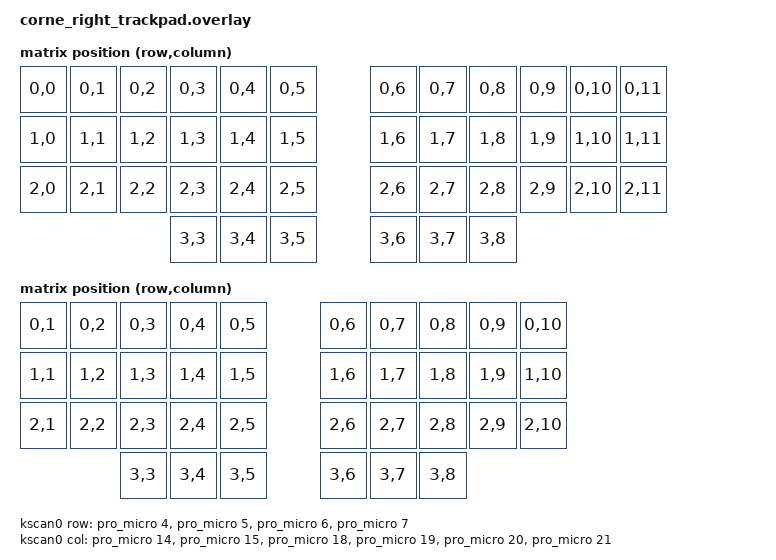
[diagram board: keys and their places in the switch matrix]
/*
 * Corne right half with an Azoteq TPS43-201A-S trackpad (IQS572) in place of
 * the OLED. I2C on the OLED header (SDA=D2/P0.17, SCL=D3/P0.20),
 * RDY=D8/P1.04, RST=D9/P1.06.
 *
 * Self-contained copy of the stock corne.dtsi + corne_right.overlay (with
 * col-offset inlined), minus the OLED node, plus the trackpad and its input
 * listener. See TRACKPAD_PLAN.md / TRACKPAD_BRINGUP.md for wiring/bring-up.
 */

#include <dt-bindings/gpio/gpio.h>
#include <dt-bindings/zmk/matrix_transform.h>

#include <layouts/foostan/corne/5column.dtsi>
#include <layouts/foostan/corne/6column.dtsi>

/ {
    chosen {
        zmk,kscan = &kscan0;
        zmk,physical-layout = &foostan_corne_6col_layout;
    };

    default_transform: keymap_transform_0 {
        compatible = "zmk,matrix-transform";
        columns = <12>;
        rows = <4>;
        col-offset = <6>;
        map = <
RC(0,0) RC(0,1) RC(0,2) RC(0,3) RC(0,4) RC(0,5)  RC(0,6) RC(0,7) RC(0,8) RC(0,9) RC(0,10) RC(0,11)
RC(1,0) RC(1,1) RC(1,2) RC(1,3) RC(1,4) RC(1,5)  RC(1,6) RC(1,7) RC(1,8) RC(1,9) RC(1,10) RC(1,11)
RC(2,0) RC(2,1) RC(2,2) RC(2,3) RC(2,4) RC(2,5)  RC(2,6) RC(2,7) RC(2,8) RC(2,9) RC(2,10) RC(2,11)
                        RC(3,3) RC(3,4) RC(3,5)  RC(3,6) RC(3,7) RC(3,8)
        >;
    };

    five_column_transform: keymap_transform_1 {
        compatible = "zmk,matrix-transform";
        columns = <10>;
        rows = <4>;
        col-offset = <6>;
        map = <
RC(0,1) RC(0,2) RC(0,3) RC(0,4) RC(0,5)   RC(0,6) RC(0,7) RC(0,8) RC(0,9) RC(0,10)
RC(1,1) RC(1,2) RC(1,3) RC(1,4) RC(1,5)   RC(1,6) RC(1,7) RC(1,8) RC(1,9) RC(1,10)
RC(2,1) RC(2,2) RC(2,3) RC(2,4) RC(2,5)   RC(2,6) RC(2,7) RC(2,8) RC(2,9) RC(2,10)
                RC(3,3) RC(3,4) RC(3,5)   RC(3,6) RC(3,7) RC(3,8)
        >;
    };

    kscan0: kscan {
        compatible = "zmk,kscan-gpio-matrix";
        wakeup-source;

        diode-direction = "col2row";
        row-gpios
            = <&pro_micro 4 (GPIO_ACTIVE_HIGH | GPIO_PULL_DOWN)>
            , <&pro_micro 5 (GPIO_ACTIVE_HIGH | GPIO_PULL_DOWN)>
            , <&pro_micro 6 (GPIO_ACTIVE_HIGH | GPIO_PULL_DOWN)>
            , <&pro_micro 7 (GPIO_ACTIVE_HIGH | GPIO_PULL_DOWN)>
            ;
        col-gpios
            = <&pro_micro 14 GPIO_ACTIVE_HIGH>
            , <&pro_micro 15 GPIO_ACTIVE_HIGH>
            , <&pro_micro 18 GPIO_ACTIVE_HIGH>
            , <&pro_micro 19 GPIO_ACTIVE_HIGH>
            , <&pro_micro 20 GPIO_ACTIVE_HIGH>
            , <&pro_micro 21 GPIO_ACTIVE_HIGH>
            ;
    };

    tps43_listener: tps43_listener {
        compatible = "zmk,input-listener";
        device = <&tps43>;
    };
};

&foostan_corne_6col_layout {
    transform = <&default_transform>;
};

&foostan_corne_5col_layout {
    transform = <&five_column_transform>;
};

&pro_micro_i2c {
    status = "okay";

    tps43: iqs5xx@74 {
        compatible = "azoteq,iqs5xx";
        reg = <0x74>;
        status = "okay";

        // NRST is active-low; active-high would hold the chip in reset.
        reset-gpios = <&pro_micro 9 GPIO_ACTIVE_LOW>;
        rdy-gpios = <&pro_micro 8 GPIO_ACTIVE_HIGH>;

        one-finger-tap;
        two-finger-tap;
        press-and-hold;
        scroll;
    };
};
